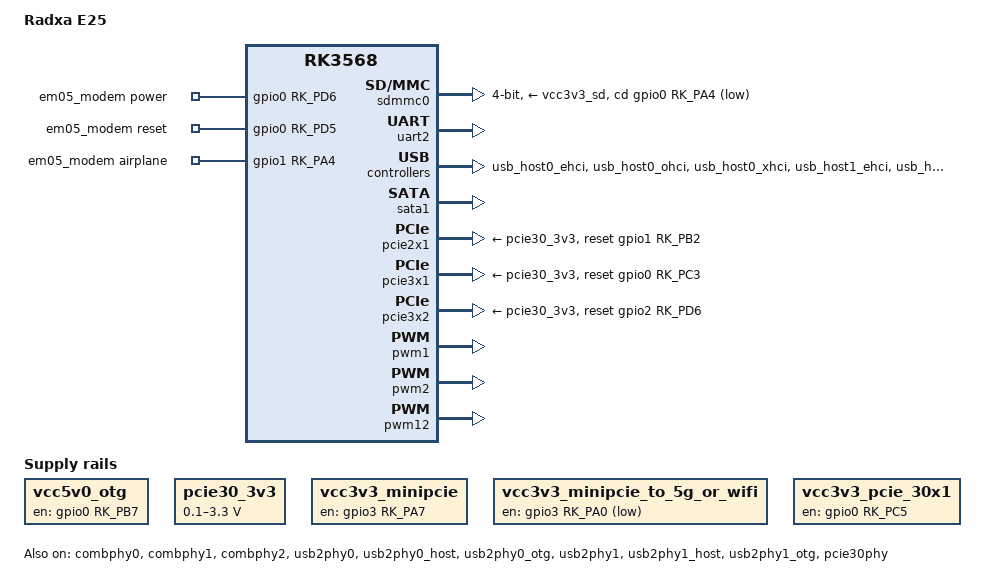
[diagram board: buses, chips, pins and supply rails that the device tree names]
// SPDX-License-Identifier: (GPL-2.0+ OR MIT)
/*
 * Copyright (c) 2020 Rockchip Electronics Co., Ltd.
 * Copyright (c) 2021 Radxa Limited.
 *
 */

/dts-v1/;

#include "rk3568-radxa-rock-3-compute-module-plus.dtsi"

/ {
	model = "Radxa E25";
	compatible = "radxa,e25", "rockchip,rk3568";

	alias {
		led-boot = &led_surround_red;
		led-failsafe = &led_surround_red;
		led-running = &led_surround_red;
		led-upgrade = &led_surround_red;
	};

	vcc5v0_otg: vcc5v0-otg-regulator {
		compatible = "regulator-fixed";
		regulator-always-on;
		regulator-boot-on;
		enable-active-high;
		gpio = <&gpio0 RK_PB7 GPIO_ACTIVE_HIGH>;
		pinctrl-names = "default";
		pinctrl-0 = <&vcc5v0_otg_en>;
		regulator-name = "vcc5v0_otg";
	};

	pcie30_3v3: pcie30-3v3 {
		compatible = "regulator-gpio";
		regulator-name = "pcie30_3v3";
		regulator-min-microvolt = <100000>;
		regulator-max-microvolt = <3300000>;
		gpios = <&gpio0 RK_PC7 GPIO_ACTIVE_HIGH>;
		gpios-states = <0x1>;
		states = <100000 0x0 3300000 0x1>;
	};

	vcc3v3_minipcie: vcc3v3-minipcie {
		compatible = "regulator-fixed";
		enable-active-high;
		gpio = <&gpio3 RK_PA7 GPIO_ACTIVE_HIGH>;
		pinctrl-names = "default";
		pinctrl-0 = <&vcc3v3_minipcie_en>;
		regulator-name = "vcc3v3_minipcie";
		regulator-always-on;
		regulator-boot-on;
	};

	//low:wifi,high:5G
	vcc3v3_minipcie_to_5g_or_wifi: vcc3v3-minipcie-to-5g-or-wifi {
		compatible = "regulator-fixed";
		enable-active-low;
		gpio = <&gpio3 RK_PA0 GPIO_ACTIVE_LOW>;
		pinctrl-names = "default";
		pinctrl-0 = <&vcc3v3_minipcie_to_5g_or_wifi_en>;
		regulator-name = "vcc3v3_minipcie_to_5g_or_wifi";
		regulator-always-on;
		regulator-boot-on;
	};

	vcc3v3_pcie_30x1: vcc3v3-pci-30x1 {
		compatible = "regulator-fixed";
		enable-active-high;
		gpio = <&gpio0 RK_PC5 GPIO_ACTIVE_HIGH>;
		pinctrl-names = "default";
		pinctrl-0 = <&vcc3v3_pcie_30x1_en>;
		regulator-name = "vcc3v3_pci_30x1";
		regulator-always-on;
		regulator-boot-on;
	};

	em05_modem: em05-modem {
		compatible = "lte-em05-modem-platdata";
		pinctrl-names = "default";
		pinctrl-0 = <&em05_power_en &em05_airplane_mode &em05_reset>;
		em05,power-gpio = <&gpio0 RK_PD6 GPIO_ACTIVE_HIGH>;
		em05,reset-gpio = <&gpio0 RK_PD5 GPIO_ACTIVE_HIGH>;
		em05,airplane-gpio = <&gpio1 RK_PA4 GPIO_ACTIVE_HIGH>;
	};

	gpio_leds: gpio-leds {
		led_surround_red: led-surround-red {
			gpios = <&gpio0 RK_PC0 GPIO_ACTIVE_HIGH>;
			label = "surround:red";
			linux,default-trigger = "timer";
			default-state = "on";
			pinctrl-0 = <&led_surround_red_en>;
   	    	};

       		led_surround_green: led-surround-green {
			gpios = <&gpio0 RK_PC1 GPIO_ACTIVE_HIGH>;
			label = "surround:green";
			linux,default-trigger = "heartbeat";
			default-state = "on";
			pinctrl-0 = <&led_surround_green_en>;
       		};
	};
};

&combphy0 {
	status = "okay";
};

&combphy1 {
	rockchip,dis-u3otg1-port;
	status = "okay";
};

&combphy2 {
	status = "okay";
};

//sdcard
&sdmmc0 {
	max-frequency = <50000000>;
	bus-width = <4>;
	cap-sd-highspeed;
	//sd-uhs-sdr104;
	cd-gpios = <&gpio0 RK_PA4 GPIO_ACTIVE_LOW>;
	disable-wp;
	pinctrl-names = "default";
	pinctrl-0 = <&sdmmc0_bus4 &sdmmc0_clk &sdmmc0_cmd &sdmmc0_det>;
	vmmc-supply = <&vcc3v3_sd>;
	vqmmc-supply = <&vccio_sd>;
	status = "okay";
};

&uart2 {
	status = "okay";
};

&usb_host0_ehci {
	status = "okay";
};

&usb_host0_ohci {
	status = "okay";
};

&usb_host0_xhci {
	extcon = <&usb2phy0>;
	status = "okay";
};

&usb_host1_ehci {
	status = "okay";
};

&usb_host1_ohci {
	status = "okay";
};

&usb_host1_xhci {
	status = "disabled";
};

&usb2phy0 {
	status = "okay";
};

&usb2phy0_host {
	phy-supply = <&vcc5v0_otg>;
	status = "okay";
};

&usb2phy0_otg {
	phy-supply = <&vcc5v0_otg>;
	status = "okay";
};

&usb2phy1 {
	status = "okay";
};

&usb2phy1_host {
	phy-supply = <&vcc5v0_otg>;
	status = "okay";
};

&usb2phy1_otg {
	phy-supply = <&vcc5v0_otg>;
	status = "okay";
};

&sata1 {
	status = "okay";
};

&gic {
	mbi-ranges = <202 56>, <264 56>;
};

/* rtl8125 1 */
&pcie2x1 {
	reset-gpios = <&gpio1 RK_PB2 GPIO_ACTIVE_HIGH>;
	vpcie3v3-supply = <&pcie30_3v3>;
	pinctrl-0 = <&pcie20m2_pins>; 
	status = "okay";
};

&pcie30phy {
	data-lanes = <1 2>;
	status = "okay";
};

/* mini pcie */
&pcie3x1 {
	num-lans = <1>;
	reset-gpios = <&gpio0 RK_PC3 GPIO_ACTIVE_HIGH>;
	vpcie3v3-supply = <&pcie30_3v3>;
	pinctrl-0 = <&pcie30x1m0_pins>; 
	status = "okay";
};

/* rtl8125 2 */
&pcie3x2 {
	num-lans = <1>;
	reset-gpios = <&gpio2 RK_PD6 GPIO_ACTIVE_HIGH>;
	vpcie3v3-supply = <&pcie30_3v3>;
	pinctrl-0 = <&pcie30x2m1_pins>; 
	status = "okay";
};

&pwm1 {
	status = "okay";
	pinctrl-names = "active";
	pinctrl-0 = <&pwm1m0_pins>;
};

&pwm2 {
	status = "okay";
	pinctrl-names = "active";
	pinctrl-0 = <&pwm2m0_pins>;
};

&pwm12 {
	status = "okay";
	pinctrl-names = "active";
	pinctrl-0 = <&pwm12m1_pins>;
};

&pinctrl {
	usb {
		vcc5v0_otg_en: vcc5v0-otg-en {
			rockchip,pins = <0 RK_PB7 RK_FUNC_GPIO &pcfg_pull_none>;
		};
	};

	pci-en {
		vcc3v3_minipcie_en: vcc3v3-minipcie-en {
			rockchip,pins = <3 RK_PA7 RK_FUNC_GPIO &pcfg_pull_none>;
		};

		vcc3v3_pcie_30x1_en: vcc3v3-pcie-30x1-en {
			rockchip,pins = <0 RK_PC5 RK_FUNC_GPIO &pcfg_pull_none>;
		};

		vcc3v3_minipcie_to_5g_or_wifi_en: vcc3v3-minipcie-to-5g-or-wifi-en {
			rockchip,pins = <3 RK_PA0 RK_FUNC_GPIO &pcfg_pull_none>;
		};
	};

	lte-em05-modem {
		em05_airplane_mode: em05-airplane-mode {
			rockchip,pins = <1 RK_PA4 RK_FUNC_GPIO &pcfg_pull_none>;
		};

		em05_power_en: em05-power-en {
			rockchip,pins = <0 RK_PD6 RK_FUNC_GPIO &pcfg_pull_none>;
		};

		em05_reset: em05-reset {
			rockchip,pins = <0 RK_PD5 RK_FUNC_GPIO &pcfg_pull_none>;
		};
	};

	leds {
		led_surround_red_en: led-surround-red-en {
			rockchip,pins = <0 RK_PC0 RK_FUNC_GPIO &pcfg_pull_none>;
		};

		led_surround_green_en: led-surround-green-en {
			rockchip,pins = <0 RK_PC1 RK_FUNC_GPIO &pcfg_pull_none>;
		};
	};
};

&led_user {
	default-state = "off";
};
